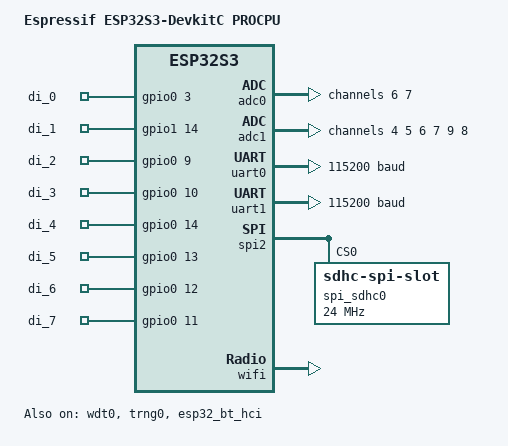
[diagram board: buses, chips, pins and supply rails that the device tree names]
/*
 * Copyright (c) 2025 Pavel Maloletkov
 *
 * SPDX-License-Identifier: Apache-2.0
 */
/dts-v1/;

#include <espressif/esp32s3/esp32s3_wroom_n8.dtsi>
#include <zephyr/dt-bindings/input/input-event-codes.h>
#include <espressif/partitions_0x0_amp.dtsi>
#include "esp32s3_pm_hw_02-pinctrl.dtsi"

/ {
	model = "Espressif ESP32S3-DevkitC PROCPU";
	compatible = "espressif,esp32s3";

	aliases {
		watchdog0 = &wdt0;
		gpioc = &gpioc;
		adc0 = &adc0;
		adc1 = &adc1;
		uart0 = &uart0;
		sdhc0 = &spi_sdhc0;
	};

	chosen {
		zephyr,sram = &sram1;
		zephyr,console = &uart0;
		zephyr,shell-uart = &uart0;
		zephyr,flash = &flash0;
		zephyr,code-partition = &slot0_partition;
		zephyr,bt-hci = &esp32_bt_hci;
	};

	gpioc: gpioc {
		compatible = "gpio-keys";

		di_0: di_0 {
			gpios = < &gpio0 3 GPIO_PULL_UP >;
		};

		di_1: di_1 {
			gpios = < &gpio1 14 GPIO_PULL_UP >;
		};

		di_2: di_2 {
			gpios = < &gpio0 9 GPIO_PULL_UP >;
		};

		di_3: di_3 {
			gpios = < &gpio0 10 GPIO_PULL_UP >;
		};

		di_4: di_4 {
			gpios = < &gpio0 14 GPIO_PULL_UP >;
		};

		di_5: di_5 {
			gpios = < &gpio0 13 GPIO_PULL_UP >;
		};

		di_6: di_6 {
			gpios = < &gpio0 12 GPIO_PULL_UP >;
		};

		di_7: di_7 {
			gpios = < &gpio0 11 GPIO_PULL_UP >;
		};
	};
};

&gpio0 {
	status = "okay";
};

&gpio1 {
	status = "okay";
};

&psram0 {
	size = <DT_SIZE_M(8)>;
};

// ADC gain set to ADC_GAIN_1_4 corresponds to 12dB attenuation with measurement range of 0-3.1V
// according to Espressif documention:
// https://docs.espressif.com/projects/esp-idf/en/v4.4/esp32s3/api-reference/peripherals/adc.html
&adc0 {
	status = "okay";
	#address-cells = <1>;
	#size-cells = <0>;

	// IN0
	channel@6 {
		reg = <6>;
		zephyr,gain = "ADC_GAIN_1_4";
		zephyr,reference = "ADC_REF_INTERNAL";
		zephyr,acquisition-time = <ADC_ACQ_TIME_DEFAULT>;
		zephyr,resolution = <12>;
	};

	// IN6
    channel@7 {
		reg = <7>;
		zephyr,gain = "ADC_GAIN_1_4";
		zephyr,reference = "ADC_REF_INTERNAL";
		zephyr,acquisition-time = <ADC_ACQ_TIME_DEFAULT>;
		zephyr,resolution = <12>;
	};
};

&adc1 {
	status = "okay";
	#address-cells = <1>;
	#size-cells = <0>;

	// IN1
	channel@4 {
		reg = <4>;
		zephyr,gain = "ADC_GAIN_1_4";
		zephyr,reference = "ADC_REF_INTERNAL";
		zephyr,acquisition-time = <ADC_ACQ_TIME_DEFAULT>;
		zephyr,resolution = <12>;
	};

    // IN2
    channel@5 {
		reg = <5>;
		zephyr,gain = "ADC_GAIN_1_4";
		zephyr,reference = "ADC_REF_INTERNAL";
		zephyr,acquisition-time = <ADC_ACQ_TIME_DEFAULT>;
		zephyr,resolution = <12>;
	};

    // IN3
    channel@6 {
		reg = <6>;
		zephyr,gain = "ADC_GAIN_1_4";
		zephyr,reference = "ADC_REF_INTERNAL";
		zephyr,acquisition-time = <ADC_ACQ_TIME_DEFAULT>;
		zephyr,resolution = <12>;
	};

    // IN4
    channel@7 {
		reg = <7>;
		zephyr,gain = "ADC_GAIN_1_4";
		zephyr,reference = "ADC_REF_INTERNAL";
		zephyr,acquisition-time = <ADC_ACQ_TIME_DEFAULT>;
		zephyr,resolution = <12>;
	};

    // IN5
	channel@9 {
		reg = <9>;
		zephyr,gain = "ADC_GAIN_1_4";
		zephyr,reference = "ADC_REF_INTERNAL";
		zephyr,acquisition-time = <ADC_ACQ_TIME_DEFAULT>;
		zephyr,resolution = <12>;
	};

	// IN7
	channel@8 {
		reg = <8>;
		zephyr,gain = "ADC_GAIN_1_4";
		zephyr,reference = "ADC_REF_INTERNAL";
		zephyr,acquisition-time = <ADC_ACQ_TIME_DEFAULT>;
		zephyr,resolution = <12>;
	};
};

// Needed for serial monitor
&uart0 {
	status = "okay";
	current-speed = <115200>;
	pinctrl-0 = <&uart0_default>;
	pinctrl-names = "default";
};

&uart1 {
	status = "okay";
	current-speed = <115200>;
	pinctrl-0 = <&uart1_default>;
	pinctrl-names = "default";
};

&spi2 {
	status = "okay";
	#address-cells = <1>;
	#size-cells = <0>;
	pinctrl-0 = <&spim2_default>;
	pinctrl-names = "default";

	spi_sdhc0: sdhc@0 {
        compatible = "zephyr,sdhc-spi-slot";
        reg = <0>;
        status = "okay";
        spi-max-frequency = <24000000>;

        mmc {
            compatible = "zephyr,sdmmc-disk";
            disk-name = "SD";
            status = "okay";
        };
    };
};

&twai {
	pinctrl-0 = <&twai_default>;
	pinctrl-names = "default";
};

&wdt0 {
	status = "okay";
};

&trng0 {
	status = "okay";
};

&esp32_bt_hci {
	status = "okay";
};

&wifi {
	status = "okay";
};
